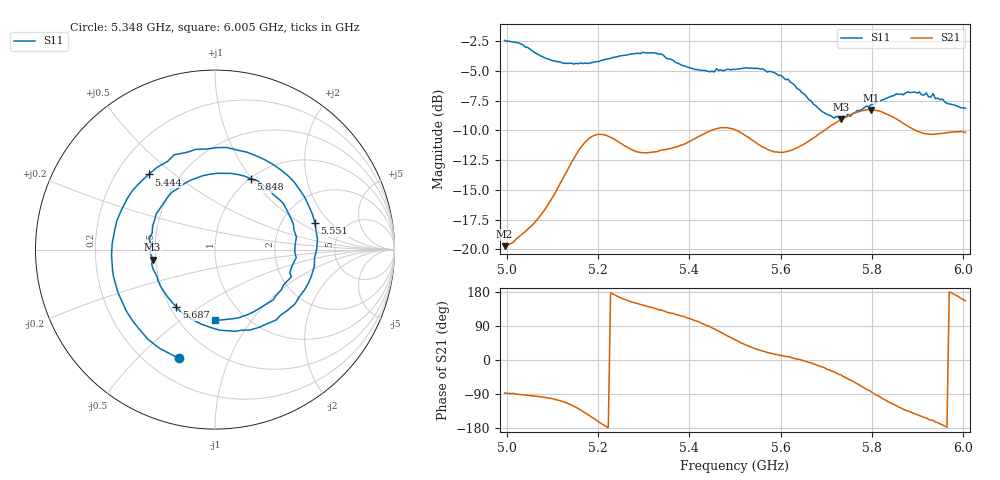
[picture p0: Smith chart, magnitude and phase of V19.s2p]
!File created by NanoVNA
# Hz S RI R 50
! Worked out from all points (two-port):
!   201 points, 4.995 GHz to 6.005 GHz, reference 50 ohm
!   highest |S21| = -8.27 dB at 5.798 GHz (marker M1); lowest = -19.7 dB at 4.995 GHz (marker M2)
!   |S21| within 3 dB of the highest: 5.38 GHz to 5.556 GHz (175.6 MHz wide, 3.21 % of centre); 5.645 GHz to end of sweep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
!   lowest |S11| = -9.1 dB at 5.732 GHz (marker M3), VSWR 2.09, Z = 24.1 - j3.09 ohm
!   |S11| at or under -10 dB: nowhere
!   S12 and S22 are empty: the file has one direction only
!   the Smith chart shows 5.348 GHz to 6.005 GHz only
!   S11 on the Smith chart (normalised r, x): 5.348 GHz: 0.33, -0.67; 5.444 GHz: 0.34, +0.41; 5.551 GHz: 3.05, +1.37; 5.687 GHz: 0.54, -0.40; 5.848 GHz: 1.01, +0.99; 6.005 GHz: 0.73, -0.68
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4.995e9  0.213 -0.7252  0.00506 -0.1029  0 0  0 0
5.03035e9  -0.3156 -0.6593  -0.00293 -0.1144  0 0  0 0
5.0758e9  -0.6432 -0.0785  -0.018 -0.1393  0 0  0 0
5.1263e9  -0.35 0.4947  -0.0726 -0.1912  0 0  0 0
5.1667e9  0.1182 0.5925  -0.1983 -0.191  0 0  0 0
5.25255e9  0.6489 -0.065  -0.2638 0.0839  0 0  0 0
5.298e9  0.4401 -0.5108  -0.2084 0.1463  0 0  0 0
5.33335e9  0.00764 -0.6622  -0.1755 0.1908  0 0  0 0
5.3485e9  -0.2025 -0.6056  -0.1591 0.2088  0 0  0 0
5.39395e9  -0.5658 -0.1491  -0.1009 0.2611  0 0  0 0
5.44445e9  -0.3691 0.4189  0.00786 0.3141  0 0  0 0
5.5e9  0.225 0.5243  0.1892 0.2562  0 0  0 0
5.5505e9  0.5569 0.1498  0.2465 0.1258  0 0  0 0
5.6212e9  0.2876 -0.4143  0.2577 0.0343  0 0  0 0
5.6717e9  -0.1357 -0.3843  0.2889 -0.052  0 0  0 0
5.68685e9  -0.2152 -0.3192  0.2951 -0.0879  0 0  0 0
5.7323e9  -0.3476 -0.0563  0.2732 -0.221  0 0  0 0
5.79795e9  -0.1747 0.365  0.0443 -0.3832  0 0  0 0
5.83835e9  0.1221 0.4195  -0.1369 -0.3387  0 0  0 0
5.84845e9  0.2002 0.3949  -0.167 -0.317  0 0  0 0
5.91915e9  0.4524 -0.0454  -0.2715 -0.1408  0 0  0 0
6.005e9  -0.00183 -0.3917  -0.2845 0.1243  0 0  0 0
